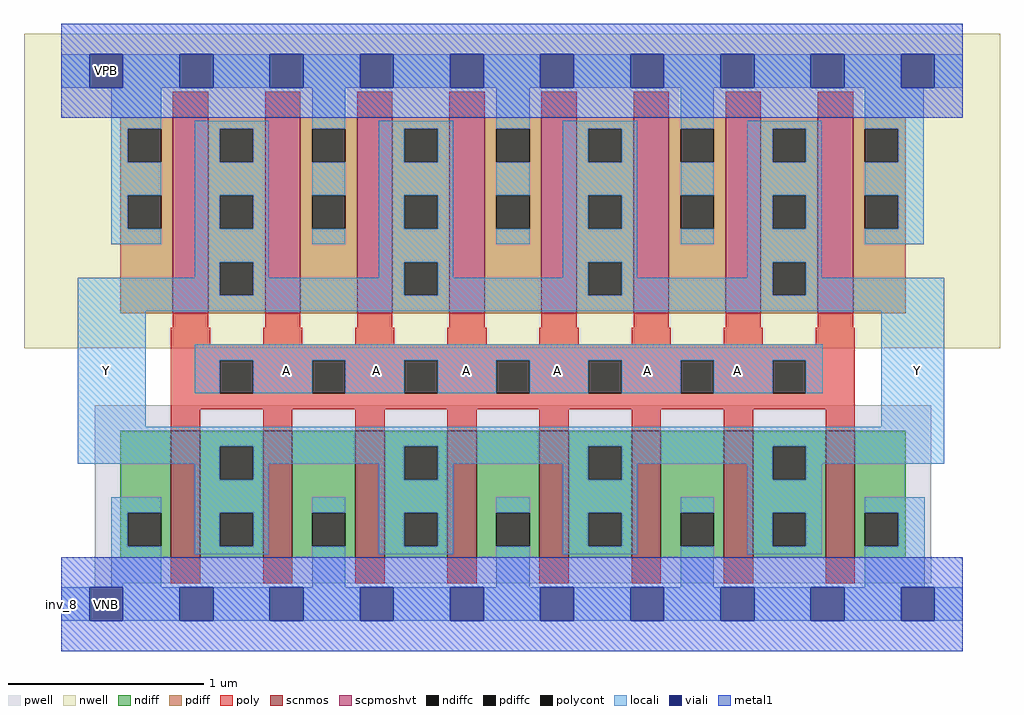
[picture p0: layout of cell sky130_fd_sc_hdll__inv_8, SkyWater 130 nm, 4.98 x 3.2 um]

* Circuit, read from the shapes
.subckt sky130_fd_sc_hdll__inv_8 A VGND VNB VPB VPWR Y
XM1 Y A VGND VNB sky130_fd_pr__nfet_01v8 w=0.65 l=0.15 m=8
XM2 Y A VPWR VPB sky130_fd_pr__pfet_01v8_hvt w=1 l=0.18 m=8
.ends

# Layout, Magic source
magic
tech sky130A
magscale 1 2
<< nwell >>
rect -38 261 958 582
<< pwell >>
rect 34 21 888 203
rect 34 17 63 21
rect 29 -17 63 17
<< scnmos >>
rect 112 47 142 177
rect 206 47 236 177
rect 300 47 330 177
rect 394 47 424 177
rect 488 47 518 177
rect 582 47 612 177
rect 676 47 706 177
rect 780 47 810 177
<< scpmoshvt >>
rect 114 297 150 497
rect 208 297 244 497
rect 302 297 338 497
rect 396 297 432 497
rect 490 297 526 497
rect 584 297 620 497
rect 678 297 714 497
rect 772 297 808 497
<< ndiff >>
rect 60 93 112 177
rect 60 59 68 93
rect 102 59 112 93
rect 60 47 112 59
rect 142 161 206 177
rect 142 127 162 161
rect 196 127 206 161
rect 142 93 206 127
rect 142 59 162 93
rect 196 59 206 93
rect 142 47 206 59
rect 236 93 300 177
rect 236 59 256 93
rect 290 59 300 93
rect 236 47 300 59
rect 330 161 394 177
rect 330 127 350 161
rect 384 127 394 161
rect 330 93 394 127
rect 330 59 350 93
rect 384 59 394 93
rect 330 47 394 59
rect 424 93 488 177
rect 424 59 444 93
rect 478 59 488 93
rect 424 47 488 59
rect 518 161 582 177
rect 518 127 538 161
rect 572 127 582 161
rect 518 93 582 127
rect 518 59 538 93
rect 572 59 582 93
rect 518 47 582 59
rect 612 93 676 177
rect 612 59 632 93
rect 666 59 676 93
rect 612 47 676 59
rect 706 161 780 177
rect 706 127 726 161
rect 760 127 780 161
rect 706 93 780 127
rect 706 59 726 93
rect 760 59 780 93
rect 706 47 780 59
rect 810 93 862 177
rect 810 59 820 93
rect 854 59 862 93
rect 810 47 862 59
<< pdiff >>
rect 60 485 114 497
rect 60 451 68 485
rect 102 451 114 485
rect 60 417 114 451
rect 60 383 68 417
rect 102 383 114 417
rect 60 297 114 383
rect 150 485 208 497
rect 150 451 162 485
rect 196 451 208 485
rect 150 417 208 451
rect 150 383 162 417
rect 196 383 208 417
rect 150 349 208 383
rect 150 315 162 349
rect 196 315 208 349
rect 150 297 208 315
rect 244 485 302 497
rect 244 451 256 485
rect 290 451 302 485
rect 244 417 302 451
rect 244 383 256 417
rect 290 383 302 417
rect 244 297 302 383
rect 338 485 396 497
rect 338 451 350 485
rect 384 451 396 485
rect 338 417 396 451
rect 338 383 350 417
rect 384 383 396 417
rect 338 349 396 383
rect 338 315 350 349
rect 384 315 396 349
rect 338 297 396 315
rect 432 485 490 497
rect 432 451 444 485
rect 478 451 490 485
rect 432 417 490 451
rect 432 383 444 417
rect 478 383 490 417
rect 432 297 490 383
rect 526 485 584 497
rect 526 451 538 485
rect 572 451 584 485
rect 526 417 584 451
rect 526 383 538 417
rect 572 383 584 417
rect 526 349 584 383
rect 526 315 538 349
rect 572 315 584 349
rect 526 297 584 315
rect 620 485 678 497
rect 620 451 632 485
rect 666 451 678 485
rect 620 417 678 451
rect 620 383 632 417
rect 666 383 678 417
rect 620 297 678 383
rect 714 485 772 497
rect 714 451 726 485
rect 760 451 772 485
rect 714 417 772 451
rect 714 383 726 417
rect 760 383 772 417
rect 714 349 772 383
rect 714 315 726 349
rect 760 315 772 349
rect 714 297 772 315
rect 808 485 862 497
rect 808 451 820 485
rect 854 451 862 485
rect 808 417 862 451
rect 808 383 820 417
rect 854 383 862 417
rect 808 297 862 383
<< ndiffc >>
rect 68 59 102 93
rect 162 127 196 161
rect 162 59 196 93
rect 256 59 290 93
rect 350 127 384 161
rect 350 59 384 93
rect 444 59 478 93
rect 538 127 572 161
rect 538 59 572 93
rect 632 59 666 93
rect 726 127 760 161
rect 726 59 760 93
rect 820 59 854 93
<< pdiffc >>
rect 68 451 102 485
rect 68 383 102 417
rect 162 451 196 485
rect 162 383 196 417
rect 162 315 196 349
rect 256 451 290 485
rect 256 383 290 417
rect 350 451 384 485
rect 350 383 384 417
rect 350 315 384 349
rect 444 451 478 485
rect 444 383 478 417
rect 538 451 572 485
rect 538 383 572 417
rect 538 315 572 349
rect 632 451 666 485
rect 632 383 666 417
rect 726 451 760 485
rect 726 383 760 417
rect 726 315 760 349
rect 820 451 854 485
rect 820 383 854 417
<< poly >>
rect 114 497 150 523
rect 208 497 244 523
rect 302 497 338 523
rect 396 497 432 523
rect 490 497 526 523
rect 584 497 620 523
rect 678 497 714 523
rect 772 497 808 523
rect 114 282 150 297
rect 208 282 244 297
rect 302 282 338 297
rect 396 282 432 297
rect 490 282 526 297
rect 584 282 620 297
rect 678 282 714 297
rect 772 282 808 297
rect 112 265 152 282
rect 206 265 246 282
rect 300 265 340 282
rect 394 265 434 282
rect 488 265 528 282
rect 582 265 622 282
rect 676 265 716 282
rect 770 265 810 282
rect 112 249 810 265
rect 112 215 162 249
rect 196 215 256 249
rect 290 215 350 249
rect 384 215 444 249
rect 478 215 538 249
rect 572 215 632 249
rect 666 215 726 249
rect 760 215 810 249
rect 112 199 810 215
rect 112 177 142 199
rect 206 177 236 199
rect 300 177 330 199
rect 394 177 424 199
rect 488 177 518 199
rect 582 177 612 199
rect 676 177 706 199
rect 780 177 810 199
rect 112 21 142 47
rect 206 21 236 47
rect 300 21 330 47
rect 394 21 424 47
rect 488 21 518 47
rect 582 21 612 47
rect 676 21 706 47
rect 780 21 810 47
<< polycont >>
rect 162 215 196 249
rect 256 215 290 249
rect 350 215 384 249
rect 444 215 478 249
rect 538 215 572 249
rect 632 215 666 249
rect 726 215 760 249
<< locali >>
rect 0 527 29 561
rect 63 527 121 561
rect 155 527 213 561
rect 247 527 305 561
rect 339 527 397 561
rect 431 527 489 561
rect 523 527 581 561
rect 615 527 673 561
rect 707 527 765 561
rect 799 527 857 561
rect 891 527 920 561
rect 51 485 102 527
rect 51 451 68 485
rect 51 417 102 451
rect 51 383 68 417
rect 51 367 102 383
rect 136 485 212 493
rect 136 451 162 485
rect 196 451 212 485
rect 136 417 212 451
rect 136 383 162 417
rect 196 383 212 417
rect 136 349 212 383
rect 256 485 290 527
rect 256 417 290 451
rect 256 367 290 383
rect 324 485 400 493
rect 324 451 350 485
rect 384 451 400 485
rect 324 417 400 451
rect 324 383 350 417
rect 384 383 400 417
rect 136 333 162 349
rect 17 315 162 333
rect 196 333 212 349
rect 324 349 400 383
rect 444 485 478 527
rect 444 417 478 451
rect 444 367 478 383
rect 512 485 588 493
rect 512 451 538 485
rect 572 451 588 485
rect 512 417 588 451
rect 512 383 538 417
rect 572 383 588 417
rect 324 333 350 349
rect 196 315 350 333
rect 384 333 400 349
rect 512 349 588 383
rect 632 485 666 527
rect 632 417 666 451
rect 632 367 666 383
rect 700 485 776 493
rect 700 451 726 485
rect 760 451 776 485
rect 700 417 776 451
rect 700 383 726 417
rect 760 383 776 417
rect 512 333 538 349
rect 384 315 538 333
rect 572 333 588 349
rect 700 349 776 383
rect 820 485 880 527
rect 854 451 880 485
rect 820 417 880 451
rect 854 383 880 417
rect 820 367 880 383
rect 700 333 726 349
rect 572 315 726 333
rect 760 333 776 349
rect 760 315 901 333
rect 17 299 901 315
rect 17 181 86 299
rect 136 249 777 265
rect 136 215 162 249
rect 196 215 256 249
rect 290 215 350 249
rect 384 215 444 249
rect 478 215 538 249
rect 572 215 632 249
rect 666 215 726 249
rect 760 215 777 249
rect 837 181 901 299
rect 17 161 901 181
rect 17 143 162 161
rect 136 127 162 143
rect 196 143 350 161
rect 196 127 212 143
rect 51 93 102 109
rect 51 59 68 93
rect 51 17 102 59
rect 136 93 212 127
rect 324 127 350 143
rect 384 143 538 161
rect 384 127 400 143
rect 136 59 162 93
rect 196 59 212 93
rect 136 51 212 59
rect 256 93 290 109
rect 256 17 290 59
rect 324 93 400 127
rect 512 127 538 143
rect 572 143 726 161
rect 572 127 588 143
rect 324 59 350 93
rect 384 59 400 93
rect 324 51 400 59
rect 444 93 478 109
rect 444 17 478 59
rect 512 93 588 127
rect 700 127 726 143
rect 760 143 901 161
rect 760 127 776 143
rect 512 59 538 93
rect 572 59 588 93
rect 512 51 588 59
rect 632 93 666 109
rect 632 17 666 59
rect 700 93 776 127
rect 700 59 726 93
rect 760 59 776 93
rect 700 51 776 59
rect 820 93 881 109
rect 854 59 881 93
rect 820 17 881 59
rect 0 -17 29 17
rect 63 -17 121 17
rect 155 -17 213 17
rect 247 -17 305 17
rect 339 -17 397 17
rect 431 -17 489 17
rect 523 -17 581 17
rect 615 -17 673 17
rect 707 -17 765 17
rect 799 -17 857 17
rect 891 -17 920 17
<< viali >>
rect 29 527 63 561
rect 121 527 155 561
rect 213 527 247 561
rect 305 527 339 561
rect 397 527 431 561
rect 489 527 523 561
rect 581 527 615 561
rect 673 527 707 561
rect 765 527 799 561
rect 857 527 891 561
rect 29 -17 63 17
rect 121 -17 155 17
rect 213 -17 247 17
rect 305 -17 339 17
rect 397 -17 431 17
rect 489 -17 523 17
rect 581 -17 615 17
rect 673 -17 707 17
rect 765 -17 799 17
rect 857 -17 891 17
<< metal1 >>
rect 0 561 920 592
rect 0 527 29 561
rect 63 527 121 561
rect 155 527 213 561
rect 247 527 305 561
rect 339 527 397 561
rect 431 527 489 561
rect 523 527 581 561
rect 615 527 673 561
rect 707 527 765 561
rect 799 527 857 561
rect 891 527 920 561
rect 0 496 920 527
rect 0 17 920 48
rect 0 -17 29 17
rect 63 -17 121 17
rect 155 -17 213 17
rect 247 -17 305 17
rect 339 -17 397 17
rect 431 -17 489 17
rect 523 -17 581 17
rect 615 -17 673 17
rect 707 -17 765 17
rect 799 -17 857 17
rect 891 -17 920 17
rect 0 -48 920 -17
<< labels >>
flabel locali s 213 221 247 255 0 FreeSans 250 0 0 0 A
port 1 nsew signal input
flabel locali s 305 221 339 255 0 FreeSans 250 0 0 0 A
port 1 nsew signal input
flabel locali s 397 221 431 255 0 FreeSans 250 0 0 0 A
port 1 nsew signal input
flabel locali s 489 221 523 255 0 FreeSans 250 0 0 0 A
port 1 nsew signal input
flabel locali s 581 221 615 255 0 FreeSans 250 0 0 0 A
port 1 nsew signal input
flabel locali s 673 221 707 255 0 FreeSans 250 0 0 0 A
port 1 nsew signal input
flabel locali s 857 221 891 255 0 FreeSans 250 0 0 0 Y
port 6 nsew signal output
flabel locali s 29 221 63 255 0 FreeSans 250 0 0 0 Y
port 6 nsew signal output
flabel pwell s 29 -17 63 17 0 FreeSans 200 0 0 0 VNB
port 3 nsew ground bidirectional
flabel nwell s 29 527 63 561 0 FreeSans 200 0 0 0 VPB
port 4 nsew power bidirectional
flabel metal1 s 29 -17 63 17 0 FreeSans 200 0 0 0 VGND
port 2 nsew ground bidirectional
flabel metal1 s 29 527 63 561 0 FreeSans 200 0 0 0 VPWR
port 5 nsew power bidirectional
rlabel comment s 0 0 0 0 4 inv_8
<< properties >>
string LEFsite unithd
string LEFclass CORE
string FIXED_BBOX 0 0 920 544
string GDS_FILE $PDKPATH/libs.ref/sky130_fd_sc_hdll/gds/sky130_fd_sc_hdll.gds
string LEFsymmetry X Y R90
string GDS_END 2143614
string GDS_START 2135698
string LEFproperties maskLayoutSubType "abstract" prCellType "standard" originalViewName "layout"
<< end >>
